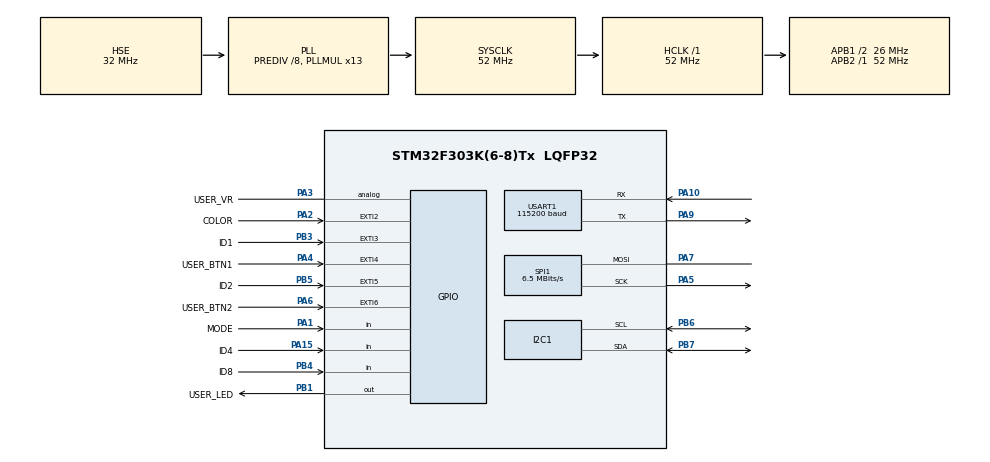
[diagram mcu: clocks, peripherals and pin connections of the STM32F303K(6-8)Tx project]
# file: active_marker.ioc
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Dma.Request0=SPI1_TX
Dma.SPI1_TX.0.Direction=DMA_MEMORY_TO_PERIPH
Dma.SPI1_TX.0.Instance=DMA1_Channel3
Dma.SPI1_TX.0.MemDataAlignment=DMA_MDATAALIGN_BYTE
Dma.SPI1_TX.0.MemInc=DMA_MINC_ENABLE
Dma.SPI1_TX.0.Mode=DMA_NORMAL
Dma.SPI1_TX.0.PeriphDataAlignment=DMA_PDATAALIGN_BYTE
Dma.SPI1_TX.0.PeriphInc=DMA_PINC_DISABLE
Dma.SPI1_TX.0.Priority=DMA_PRIORITY_LOW
I2C1.Speed=50
I2C1.Timing=0x00101D7C
IWDG.Prescaler=IWDG_PRESCALER_8
Mcu.Family=STM32F3
Mcu.Name=STM32F303K(6-8)Tx
Mcu.Package=LQFP32
NVIC.DMA1_Channel3_IRQn=true\:0\:0\:false\:false\:true\:false\:true\:true
NVIC.EXTI2_TSC_IRQn=true\:0\:0\:false\:false\:true\:true\:true\:true
NVIC.EXTI3_IRQn=true\:0\:0\:false\:false\:true\:true\:true\:true
NVIC.EXTI4_IRQn=true\:0\:0\:false\:false\:true\:true\:true\:true
NVIC.EXTI9_5_IRQn=true\:0\:0\:false\:false\:true\:true\:true\:true
NVIC.PriorityGroup=NVIC_PRIORITYGROUP_4
NVIC.USART1_IRQn=true\:0\:0\:false\:false\:true\:true\:true\:true
PA1.GPIO_Label=MODE
PA1.Signal=GPIO_Input
PA10.Mode=Asynchronous
PA10.Signal=USART1_RX
PA13.Mode=Serial_Wire
PA13.Signal=SYS_JTMS-SWDIO
PA14.Mode=Serial_Wire
PA14.Signal=SYS_JTCK-SWCLK
PA15.GPIO_Label=ID4
PA15.Signal=GPIO_Input
PA2.GPIO_Label=COLOR
PA2.GPIO_ModeDefaultEXTI=GPIO_MODE_IT_RISING_FALLING
PA2.Signal=GPXTI2
PA3.GPIO_Label=USER_VR
PA3.Signal=GPIO_Analog
PA4.GPIO_Label=USER_BTN1
PA4.GPIO_ModeDefaultEXTI=GPIO_MODE_IT_FALLING
PA4.Signal=GPXTI4
PA5.Mode=Simplex_Bidirectional_Master
PA5.Signal=SPI1_SCK
PA6.GPIO_Label=USER_BTN2
PA6.GPIO_ModeDefaultEXTI=GPIO_MODE_IT_FALLING
PA6.Signal=GPXTI6
PA7.Mode=Simplex_Bidirectional_Master
PA7.Signal=SPI1_MOSI
PA9.Mode=Asynchronous
PA9.Signal=USART1_TX
PB1.GPIO_Label=USER_LED
PB1.Signal=GPIO_Output
PB3.GPIO_Label=ID1
PB3.GPIO_ModeDefaultEXTI=GPIO_MODE_IT_RISING_FALLING
PB3.Signal=GPXTI3
PB4.GPIO_Label=ID8
PB4.Signal=GPIO_Input
PB5.GPIO_Label=ID2
PB5.GPIO_ModeDefaultEXTI=GPIO_MODE_IT_RISING_FALLING
PB5.Signal=GPXTI5
PB6.Mode=I2C
PB6.Signal=I2C1_SCL
PB7.Mode=I2C
PB7.Signal=I2C1_SDA
PF0\ /\ OSC_IN.Mode=HSE-External-Oscillator
PF0\ /\ OSC_IN.Signal=RCC_OSC_IN
PF1\ /\ OSC_OUT.Mode=HSE-External-Oscillator
PF1\ /\ OSC_OUT.Signal=RCC_OSC_OUT
ProjectManager.HeapSize=0x200
ProjectManager.StackSize=0x400
ProjectManager.TargetToolchain=STM32CubeIDE
RCC.AHBFreq_Value=52000000
RCC.APB1CLKDivider=RCC_HCLK_DIV2
RCC.APB1Freq_Value=26000000
RCC.APB1TimFreq_Value=52000000
RCC.APB2Freq_Value=52000000
RCC.APB2TimFreq_Value=52000000
RCC.CortexFreq_Value=52000000
RCC.HCLKFreq_Value=52000000
RCC.HSE_VALUE=32000000
RCC.HSI_VALUE=8000000
RCC.PLLMUL=RCC_PLL_MUL13
RCC.PLLSourceVirtual=RCC_PLLSOURCE_HSE
RCC.RCC_PLLsource_Clock_Source_FROM_HSE=RCC_HSE_PREDIV_DIV8
RCC.SYSCLKFreq_VALUE=52000000
RCC.SYSCLKSourceVirtual=RCC_SYSCLKSOURCE_PLLCLK
SPI1.BaudRatePrescaler=SPI_BAUDRATEPRESCALER_8
SPI1.CalculateBaudRate=6.5 MBits/s
SPI1.DataSize=SPI_DATASIZE_8BIT
SPI1.Direction=SPI_DIRECTION_1LINE
SPI1.FirstBit=SPI_FIRSTBIT_MSB
SPI1.Mode=SPI_MODE_MASTER
SPI1.NSSPMode=SPI_NSS_PULSE_DISABLE
SPI1.VirtualType=VM_MASTER
USART1.BaudRate=115200
USART1.Parity=PARITY_ODD
USART1.VirtualMode-Asynchronous=VM_ASYNC
USART1.WordLength=WORDLENGTH_9B
VP_IWDG_VS_IWDG.Mode=IWDG_Activate
board=custom

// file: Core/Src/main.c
/* USER CODE BEGIN Header */
/**
 ******************************************************************************
 * @file           : main.c
 * @brief          : Main program body
 ******************************************************************************
 * @attention
 *
 * Copyright (c) 2024 STMicroelectronics.
 * All rights reserved.
 *
 * This software is licensed under terms that can be found in the LICENSE file
 * in the root directory of this software component.
 * If no LICENSE file comes with this software, it is provided AS-IS.
 *
 ******************************************************************************
 */
/* USER CODE END Header */
#include "main.h"

/* USER CODE BEGIN Includes */
#include "active_marker.h"
#include "user_func.h"
#include "VEML6030.h"
/* USER CODE END Includes */

/* USER CODE BEGIN PTD */
typedef enum {
  CYCLE_MAIN, CYCLE_SENSOR, CYCLE_PATTERN, CYCLE_LAST
} Cycle_enum;
/* USER CODE END PTD */

I2C_HandleTypeDef hi2c1;

IWDG_HandleTypeDef hiwdg;

SPI_HandleTypeDef hspi1;
DMA_HandleTypeDef hdma_spi1_tx;

UART_HandleTypeDef huart1;

/* USER CODE BEGIN PV */
RGB color_blue_bright = { 0, 0, 100 };
RGB color_yellow_bright = { 125, 125, 0 };
RGB color_pink_bright = { 100, 0, 15 };
RGB color_green_bright = { 0, 125, 0 };

RGB color_blue_dark = { 0, 0, 50 };
RGB color_yellow_dark = { 60, 60, 0 };
RGB color_pink_dark = { 50, 0, 7 };
RGB color_green_dark = { 0, 60, 0 };
/* USER CODE END PV */

void SystemClock_Config(void);
static void MX_GPIO_Init(void);
static void MX_DMA_Init(void);
static void MX_SPI1_Init(void);
static void MX_USART1_UART_Init(void);
static void MX_I2C1_Init(void);
static void MX_IWDG_Init(void);

int main(void) {
  /* USER CODE BEGIN 1 */
  uint8_t ID = 0;
  bool color = TEAM_COLOR_YELLOW;
  uint16_t lux = 0;
  /* USER CODE END 1 */

  /* MCU Configuration--------------------------------------------------------*/

  /* Reset of all peripherals, Initializes the Flash interface and the Systick. */
  HAL_Init();

  /* Configure the system clock */
  SystemClock_Config();

  /* Initialize all configured peripherals */
  MX_GPIO_Init();
  MX_DMA_Init();
  MX_SPI1_Init();
  MX_USART1_UART_Init();
  MX_I2C1_Init();
  MX_IWDG_Init();
  /* USER CODE BEGIN 2 */
  VEML6030_init(&hi2c1, SENS_ADDR_0);
//  VEML6030_init(&hi2c1, SENS_ADDR_1);
  HAL_Delay(50);
  NeoPixel_Init(&hspi1);
  Uart_Init(&huart1);
  setColorSwitch();
  setIDSwitch();
//setup cycle
  float *cycle_basis = calloc(CYCLE_LAST, sizeof(float));
  uint32_t *cycle_old = calloc(CYCLE_LAST, sizeof(uint32_t));
  cycle_basis[CYCLE_MAIN] = 20;
  cycle_basis[CYCLE_PATTERN] = 50;
  cycle_basis[CYCLE_SENSOR] = VEML6030_getIntTime(SENS_ADDR_0);
  /* USER CODE END 2 */

  /* Infinite loop */
  /* USER CODE BEGIN WHILE */
  while (1) {
    ID = getID();
    color = getColor();

    if (CycleController(CYCLE_SENSOR, cycle_basis, cycle_old)) {
      lux = (uint16_t) VEML6030_getLux(SENS_ADDR_0);
      uint8_t data[8] = { };
      data[0] = COMMAND_ILLUMINANCE;
      data[1] = lux & 0xFF;
      data[2] = lux >> 8;
      HAL_UART_Transmit(&huart1, data, 8, 10);
      if (lux > 400) {
        setColorConfig(COMMAND_BLUE, color_blue_bright);
        setColorConfig(COMMAND_YELLOW, color_yellow_bright);
        setColorConfig(COMMAND_PINK, color_pink_bright);
        setColorConfig(COMMAND_GREEN, color_green_bright);
      } else {
        setColorConfig(COMMAND_BLUE, color_blue_dark);
        setColorConfig(COMMAND_YELLOW, color_yellow_dark);
        setColorConfig(COMMAND_PINK, color_pink_dark);
        setColorConfig(COMMAND_GREEN, color_green_dark);
      }
    }

    if (CycleController(CYCLE_PATTERN, cycle_basis, cycle_old)) {
      setPattern(ID, color);
    }
    while (!CycleController(CYCLE_MAIN, cycle_basis, cycle_old)) {
      HAL_Delay(1);
    }
    Uart_checkReset();
    HAL_IWDG_Refresh(&hiwdg);
    /* USER CODE END WHILE */

  }
}

void SystemClock_Config(void) {
  RCC_OscInitTypeDef RCC_OscInitStruct = { 0 };
  RCC_ClkInitTypeDef RCC_ClkInitStruct = { 0 };
  RCC_PeriphCLKInitTypeDef PeriphClkInit = { 0 };

  /** Initializes the RCC Oscillators according to the specified parameters
   * in the RCC_OscInitTypeDef structure.
   */
  RCC_OscInitStruct.OscillatorType = RCC_OSCILLATORTYPE_HSI
      | RCC_OSCILLATORTYPE_LSI | RCC_OSCILLATORTYPE_HSE;
  RCC_OscInitStruct.HSEState = RCC_HSE_ON;
  RCC_OscInitStruct.HSEPredivValue = RCC_HSE_PREDIV_DIV8;
  RCC_OscInitStruct.HSIState = RCC_HSI_ON;
  RCC_OscInitStruct.HSICalibrationValue = RCC_HSICALIBRATION_DEFAULT;
  RCC_OscInitStruct.LSIState = RCC_LSI_ON;
  RCC_OscInitStruct.PLL.PLLState = RCC_PLL_ON;
  RCC_OscInitStruct.PLL.PLLSource = RCC_PLLSOURCE_HSE;
  RCC_OscInitStruct.PLL.PLLMUL = RCC_PLL_MUL13;
  if (HAL_RCC_OscConfig(&RCC_OscInitStruct) != HAL_OK) {
    Error_Handler();
  }

  /** Initializes the CPU, AHB and APB buses clocks
   */
  RCC_ClkInitStruct.ClockType = RCC_CLOCKTYPE_HCLK | RCC_CLOCKTYPE_SYSCLK
      | RCC_CLOCKTYPE_PCLK1 | RCC_CLOCKTYPE_PCLK2;
  RCC_ClkInitStruct.SYSCLKSource = RCC_SYSCLKSOURCE_PLLCLK;
  RCC_ClkInitStruct.AHBCLKDivider = RCC_SYSCLK_DIV1;
  RCC_ClkInitStruct.APB1CLKDivider = RCC_HCLK_DIV2;
  RCC_ClkInitStruct.APB2CLKDivider = RCC_HCLK_DIV1;

  if (HAL_RCC_ClockConfig(&RCC_ClkInitStruct, FLASH_LATENCY_2) != HAL_OK) {
    Error_Handler();
  }
  PeriphClkInit.PeriphClockSelection =
  RCC_PERIPHCLK_USART1 | RCC_PERIPHCLK_I2C1;
  PeriphClkInit.Usart1ClockSelection = RCC_USART1CLKSOURCE_PCLK1;
  PeriphClkInit.I2c1ClockSelection = RCC_I2C1CLKSOURCE_HSI;
  if (HAL_RCCEx_PeriphCLKConfig(&PeriphClkInit) != HAL_OK) {
    Error_Handler();
  }
}

static void MX_I2C1_Init(void) {

  hi2c1.Instance = I2C1;
  hi2c1.Init.Timing = 0x00101D7C;
  hi2c1.Init.OwnAddress1 = 0;
  hi2c1.Init.AddressingMode = I2C_ADDRESSINGMODE_7BIT;
  hi2c1.Init.DualAddressMode = I2C_DUALADDRESS_DISABLE;
  hi2c1.Init.OwnAddress2 = 0;
  hi2c1.Init.OwnAddress2Masks = I2C_OA2_NOMASK;
  hi2c1.Init.GeneralCallMode = I2C_GENERALCALL_DISABLE;
  hi2c1.Init.NoStretchMode = I2C_NOSTRETCH_DISABLE;
  if (HAL_I2C_Init(&hi2c1) != HAL_OK) {
    Error_Handler();
  }

  /** Configure Analogue filter
   */
  if (HAL_I2CEx_ConfigAnalogFilter(&hi2c1, I2C_ANALOGFILTER_ENABLE) != HAL_OK) {
    Error_Handler();
  }

  /** Configure Digital filter
   */
  if (HAL_I2CEx_ConfigDigitalFilter(&hi2c1, 0) != HAL_OK) {
    Error_Handler();
  }

}

static void MX_IWDG_Init(void) {

  hiwdg.Instance = IWDG;
  hiwdg.Init.Prescaler = IWDG_PRESCALER_8;
  hiwdg.Init.Window = 4095;
  hiwdg.Init.Reload = 4095;
  if (HAL_IWDG_Init(&hiwdg) != HAL_OK) {
    Error_Handler();
  }

}

static void MX_SPI1_Init(void) {

  /* SPI1 parameter configuration*/
  hspi1.Instance = SPI1;
  hspi1.Init.Mode = SPI_MODE_MASTER;
  hspi1.Init.Direction = SPI_DIRECTION_1LINE;
  hspi1.Init.DataSize = SPI_DATASIZE_8BIT;
  hspi1.Init.CLKPolarity = SPI_POLARITY_LOW;
  hspi1.Init.CLKPhase = SPI_PHASE_1EDGE;
  hspi1.Init.NSS = SPI_NSS_SOFT;
  hspi1.Init.BaudRatePrescaler = SPI_BAUDRATEPRESCALER_8;
  hspi1.Init.FirstBit = SPI_FIRSTBIT_MSB;
  hspi1.Init.TIMode = SPI_TIMODE_DISABLE;
  hspi1.Init.CRCCalculation = SPI_CRCCALCULATION_DISABLE;
  hspi1.Init.CRCPolynomial = 7;
  hspi1.Init.CRCLength = SPI_CRC_LENGTH_DATASIZE;
  hspi1.Init.NSSPMode = SPI_NSS_PULSE_DISABLE;
  if (HAL_SPI_Init(&hspi1) != HAL_OK) {
    Error_Handler();
  }

}

static void MX_USART1_UART_Init(void) {

  huart1.Instance = USART1;
  huart1.Init.BaudRate = 115200;
  huart1.Init.WordLength = UART_WORDLENGTH_9B;
  huart1.Init.StopBits = UART_STOPBITS_1;
  huart1.Init.Parity = UART_PARITY_ODD;
  huart1.Init.Mode = UART_MODE_TX_RX;
  huart1.Init.HwFlowCtl = UART_HWCONTROL_NONE;
  huart1.Init.OverSampling = UART_OVERSAMPLING_16;
  huart1.Init.OneBitSampling = UART_ONE_BIT_SAMPLE_DISABLE;
  huart1.AdvancedInit.AdvFeatureInit = UART_ADVFEATURE_NO_INIT;
  if (HAL_UART_Init(&huart1) != HAL_OK) {
    Error_Handler();
  }

}

static void MX_DMA_Init(void) {

  /* DMA controller clock enable */
  __HAL_RCC_DMA1_CLK_ENABLE();

  /* DMA interrupt init */
  /* DMA1_Channel3_IRQn interrupt configuration */
  HAL_NVIC_SetPriority(DMA1_Channel3_IRQn, 0, 0);
  HAL_NVIC_EnableIRQ(DMA1_Channel3_IRQn);

}

static void MX_GPIO_Init(void) {
  GPIO_InitTypeDef GPIO_InitStruct = { 0 };

  /* GPIO Ports Clock Enable */
  __HAL_RCC_GPIOF_CLK_ENABLE();
  __HAL_RCC_GPIOA_CLK_ENABLE();
  __HAL_RCC_GPIOB_CLK_ENABLE();

  /*Configure GPIO pin Output Level */
  HAL_GPIO_WritePin(USER_LED_GPIO_Port, USER_LED_Pin, GPIO_PIN_RESET);

  /*Configure GPIO pins : MODE_Pin ID4_Pin */
  GPIO_InitStruct.Pin = MODE_Pin | ID4_Pin;
  GPIO_InitStruct.Mode = GPIO_MODE_INPUT;
  GPIO_InitStruct.Pull = GPIO_NOPULL;
  HAL_GPIO_Init(GPIOA, &GPIO_InitStruct);

  /*Configure GPIO pin : COLOR_Pin */
  GPIO_InitStruct.Pin = COLOR_Pin;
  GPIO_InitStruct.Mode = GPIO_MODE_IT_RISING_FALLING;
  GPIO_InitStruct.Pull = GPIO_NOPULL;
  HAL_GPIO_Init(COLOR_GPIO_Port, &GPIO_InitStruct);

  /*Configure GPIO pin : USER_VR_Pin */
  GPIO_InitStruct.Pin = USER_VR_Pin;
  GPIO_InitStruct.Mode = GPIO_MODE_ANALOG;
  GPIO_InitStruct.Pull = GPIO_NOPULL;
  HAL_GPIO_Init(USER_VR_GPIO_Port, &GPIO_InitStruct);

  /*Configure GPIO pins : USER_BTN1_Pin USER_BTN2_Pin */
  GPIO_InitStruct.Pin = USER_BTN1_Pin | USER_BTN2_Pin;
  GPIO_InitStruct.Mode = GPIO_MODE_IT_FALLING;
  GPIO_InitStruct.Pull = GPIO_NOPULL;
  HAL_GPIO_Init(GPIOA, &GPIO_InitStruct);

  /*Configure GPIO pin : USER_LED_Pin */
  GPIO_InitStruct.Pin = USER_LED_Pin;
  GPIO_InitStruct.Mode = GPIO_MODE_OUTPUT_PP;
  GPIO_InitStruct.Pull = GPIO_NOPULL;
  GPIO_InitStruct.Speed = GPIO_SPEED_FREQ_LOW;
  HAL_GPIO_Init(USER_LED_GPIO_Port, &GPIO_InitStruct);

  /*Configure GPIO pins : ID1_Pin ID2_Pin */
  GPIO_InitStruct.Pin = ID1_Pin | ID2_Pin;
  GPIO_InitStruct.Mode = GPIO_MODE_IT_RISING_FALLING;
  GPIO_InitStruct.Pull = GPIO_NOPULL;
  HAL_GPIO_Init(GPIOB, &GPIO_InitStruct);

  /*Configure GPIO pin : ID8_Pin */
  GPIO_InitStruct.Pin = ID8_Pin;
  GPIO_InitStruct.Mode = GPIO_MODE_INPUT;
  GPIO_InitStruct.Pull = GPIO_NOPULL;
  HAL_GPIO_Init(ID8_GPIO_Port, &GPIO_InitStruct);

  /* EXTI interrupt init*/
  HAL_NVIC_SetPriority(EXTI2_TSC_IRQn, 0, 0);
  HAL_NVIC_EnableIRQ(EXTI2_TSC_IRQn);

  HAL_NVIC_SetPriority(EXTI3_IRQn, 0, 0);
  HAL_NVIC_EnableIRQ(EXTI3_IRQn);

  HAL_NVIC_SetPriority(EXTI4_IRQn, 0, 0);
  HAL_NVIC_EnableIRQ(EXTI4_IRQn);

  HAL_NVIC_SetPriority(EXTI9_5_IRQn, 0, 0);
  HAL_NVIC_EnableIRQ(EXTI9_5_IRQn);

}

void Error_Handler(void) {
  __disable_irq();
  while (1) {
  }
}
